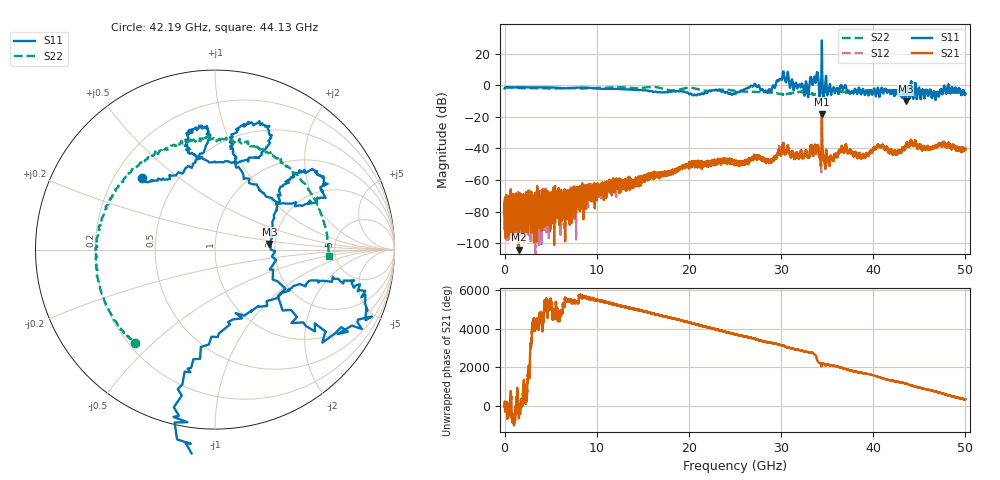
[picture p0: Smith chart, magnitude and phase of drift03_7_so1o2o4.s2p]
!Created with skrf (http://scikit-rf.org).
# Hz S RI R 50.0
!freq ReS11 ImS11 ReS21 ImS21 ReS12 ImS12 ReS22 ImS22
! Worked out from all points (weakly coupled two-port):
!   10000 points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, 5.3 MHz to 50 GHz, reference 50 ohm
!   highest |S21| = -18.17 dB at 34.43 GHz (marker M1); lowest = -103.9 dB at 1.53 GHz (marker M2)
!   lowest |S11| = -10.3 dB at 43.53 GHz (marker M3), VSWR 1.88, Z = 93.2 + j6.33 ohm
!   |S11| at or under -10 dB: 43.52198 GHz to 43.53091 GHz (8.924 MHz wide, 0.0205 % of centre)
!   |S22| runs from -5.8 to -1.1 dB; largest |S21 - S12| = 0.029
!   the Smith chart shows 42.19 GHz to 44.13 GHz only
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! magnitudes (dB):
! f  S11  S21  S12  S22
! 5.3 MHz  -2.1  -79.1  -79.4  -1.3
! 1.53 GHz  -1.3  -103.9  -77.8  -1.8
! 4.105 GHz  -1.4  -85.6  -75.8  -2.0
! 8.34 GHz  -1.5  -68.5  -67.7  -2.1
! 16.67 GHz  -4.4  -56.1  -55.9  -1.5
! 20.29 GHz  -5.6  -50.3  -48.8  -1.8
! 25.01 GHz  -5.5  -48.4  -48.8  -3.6
! 27.02 GHz  -0.4  -45.8  -45.3  -4.2
! 28.72 GHz  -2.5  -49.0  -47.9  -4.6
! 30.14 GHz  4.4  -40.9  -39.9  -5.7
! 32.74 GHz  2.1  -42.0  -42.1  -4.7
! 33.34 GHz  2.6  -39.4  -40.3  -5.5
! 33.82 GHz  3.9  -41.9  -41.8  -5.7
! 34.43 GHz  28.3  -18.2  -19.4  -4.6
! 35.32 GHz  0.4  -46.5  -46.1  -3.5
! 36.83 GHz  -1.4  -42.3  -42.2  -4.3
! 38.85 GHz  -2.8  -44.6  -43.7  -3.2
! 40.6 GHz  -4.3  -38.0  -38.5  -4.0
! 41.67 GHz  -3.4  -42.0  -42.5  -3.3
! 43.53 GHz  -10.3  -39.0  -38.7  -4.2
! 47.52 GHz  -5.8  -37.2  -36.9  -4.8
! 50 GHz  -5.4  -40.6  -41.1  -4.6
